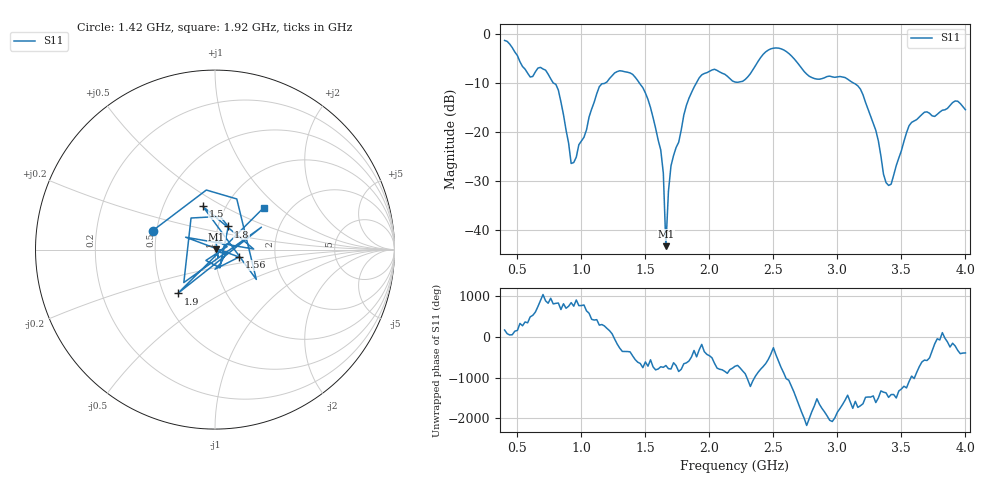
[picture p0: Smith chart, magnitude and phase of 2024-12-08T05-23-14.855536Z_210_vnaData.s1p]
!Created with skrf (http://scikit-rf.org).
# Hz S RI R 50.0
!freq ReS11 ImS11
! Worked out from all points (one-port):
!   181 points, 400 MHz to 4 GHz, reference 50 ohm
!   lowest |S11| = -43.2 dB at 1.66 GHz (marker M1), VSWR 1.01, Z = 50.7 + j0.208 ohm
!   |S11| at or under -10 dB: 781 MHz to 1.185 GHz (404.1 MHz wide, 41.1 % of centre); 1.453 GHz to 1.898 GHz (444.5 MHz wide, 26.5 % of centre); 3.126 GHz to end of sweep
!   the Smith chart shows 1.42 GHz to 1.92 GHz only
!   S11 on the Smith chart (normalised r, x): 1.42 GHz: 0.48, +0.12; 1.5 GHz: 0.78, +0.40; 1.56 GHz: 1.30, -0.11; 1.8 GHz: 1.12, +0.30; 1.9 GHz: 0.59, -0.32; 1.92 GHz: 1.49, +0.79
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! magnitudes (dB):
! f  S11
! 400 MHz  -1.3
! 600 MHz  -8.8
! 720 MHz  -7.4
! 860 MHz  -16.4
! 920 MHz  -26.4
! 940 MHz  -26.2
! 1.14 GHz  -10.7
! 1.3 GHz  -7.5
! 1.42 GHz  -8.8
! 1.5 GHz  -12.0
! 1.56 GHz  -17.1
! 1.64 GHz  -28.4
! 1.66 GHz  -43.2
! 1.68 GHz  -32.1
! 1.7 GHz  -26.9
! 1.76 GHz  -22.1
! 1.8 GHz  -16.5
! 1.9 GHz  -9.9
! 1.92 GHz  -8.9
! 2.2 GHz  -9.8
! 2.48 GHz  -3.0
! 2.66 GHz  -5.0
! 2.8 GHz  -8.9
! 3.1 GHz  -9.6
! 3.2 GHz  -12.4
! 3.4 GHz  -30.9
! 3.56 GHz  -18.7
! 4 GHz  -15.4
